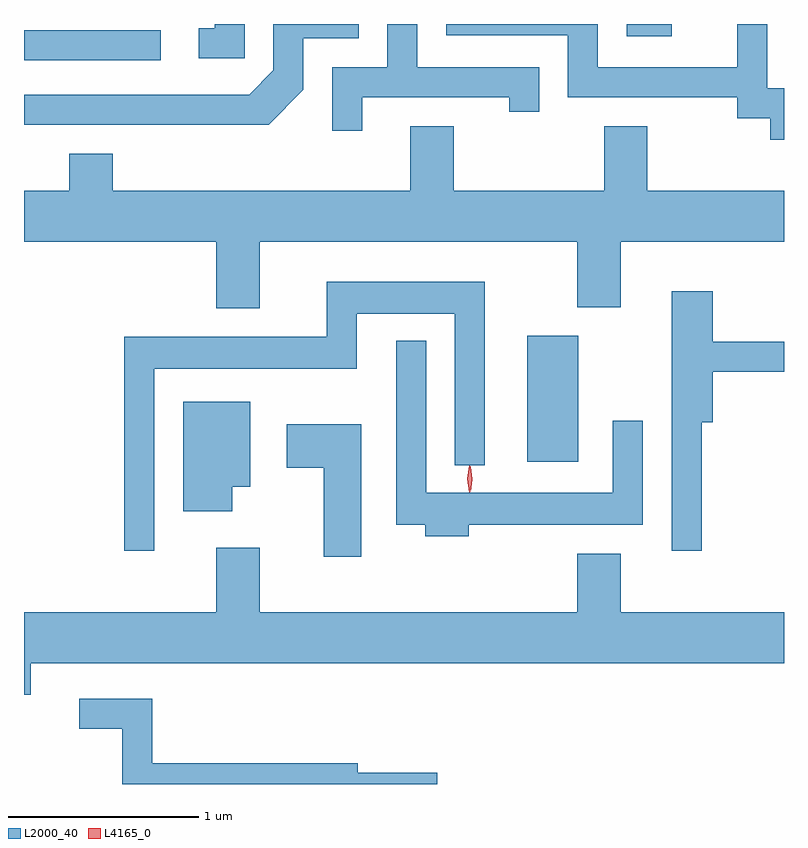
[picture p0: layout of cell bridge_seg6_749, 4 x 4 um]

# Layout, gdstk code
import gdstk
lib = gdstk.Library(unit=1e-6, precision=1e-09)
def R(c, l, rs):  # rectangles x0, y0, x1, y1
    for r in rs: c.add(gdstk.rectangle(r[:2], r[2:], *l))
def P(c, l, *ps):  # polygons
    for p in ps: c.add(gdstk.Polygon(p, *l))
L2000_40 = (2000, 40)
L4165_0 = (4165, 0)

bridge_seg6_749 = lib.new_cell('bridge_seg6_749')
R(bridge_seg6_749, L2000_40, [(526.426,1553.316,526.694,1553.979), (523.778,1555.431,524.498,1555.589), (526.951,1555.556,527.188,1555.621)])
P(bridge_seg6_749, L2000_40, [(524.939,1555.621),(524.781,1555.621),(524.781,1555.599),(524.698,1555.599),(524.698,1555.441),(524.939,1555.441)],
  [(525.249,1555.274),(525.249,1555.546),(525.539,1555.546),(525.539,1555.621),(525.091,1555.621),(525.091,1555.377),(524.964,1555.249),(523.778,1555.249),(523.778,1555.091),(525.067,1555.091)],
  [(525.559,1555.236),(526.331,1555.236),(526.331,1555.158),(526.489,1555.158),(526.489,1555.394),(525.849,1555.394),(525.849,1555.621),(525.691,1555.621),(525.691,1555.394),(525.401,1555.394),(525.401,1555.058),(525.559,1555.058)],
  [(527.778,1555.284),(527.689,1555.284),(527.689,1555.621),(527.531,1555.621),(527.531,1555.394),(526.799,1555.394),(526.799,1555.621),(526.001,1555.621),(526.001,1555.561),(526.641,1555.561),(526.641,1555.236),(527.531,1555.236),(527.531,1555.126),(527.706,1555.126),(527.706,1555.013),(527.778,1555.013)],
  [(526.691,1554.131),(526.919,1554.131),(526.919,1554.476),(527.778,1554.476),(527.778,1554.744),(527.059,1554.744),(527.059,1555.084),(526.831,1555.084),(526.831,1554.744),(526.039,1554.744),(526.039,1555.084),(525.811,1555.084),(525.811,1554.744),(524.244,1554.744),(524.244,1554.939),(524.016,1554.939),(524.016,1554.744),(523.778,1554.744),(523.778,1554.476),(524.791,1554.476),(524.791,1554.126),(525.019,1554.126),(525.019,1554.476),(526.691,1554.476)],
  [(524.464,1553.806),(525.529,1553.806),(525.529,1554.096),(526.046,1554.096),(526.046,1553.298),(526.204,1553.298),(526.204,1554.264),(525.371,1554.264),(525.371,1553.974),(524.306,1553.974),(524.306,1552.848),(524.464,1552.848)],
  [(527.344,1553.526),(527.404,1553.526),(527.404,1553.791),(527.778,1553.791),(527.778,1553.949),(527.404,1553.949),(527.404,1554.214),(527.186,1554.214),(527.186,1552.848),(527.344,1552.848)],
  [(526.119,1552.986),(527.034,1552.986),(527.034,1553.533),(526.876,1553.533),(526.876,1553.154),(525.894,1553.154),(525.894,1553.953),(525.736,1553.953),(525.736,1552.986),(525.891,1552.986),(525.891,1552.926),(526.119,1552.926)],
  [(524.874,1553.186),(524.969,1553.186),(524.969,1553.634),(524.616,1553.634),(524.616,1553.056),(524.874,1553.056)],
  [(525.554,1553.514),(525.161,1553.514),(525.161,1553.286),(525.356,1553.286),(525.356,1552.816),(525.554,1552.816)],
  [(523.814,1552.256),(527.778,1552.256),(527.778,1552.524),(526.919,1552.524),(526.919,1552.834),(526.691,1552.834),(526.691,1552.524),(525.019,1552.524),(525.019,1552.864),(524.791,1552.864),(524.791,1552.524),(523.778,1552.524),(523.778,1552.091),(523.814,1552.091)],
  [(525.954,1551.679),(525.534,1551.679),(525.534,1551.729),(524.454,1551.729),(524.454,1552.069),(524.068,1552.069),(524.068,1551.911),(524.296,1551.911),(524.296,1551.621),(525.954,1551.621)])
P(bridge_seg6_749, L4165_0, [(526.128,1553.159),(526.128,1553.16),(526.118,1553.226),(526.127,1553.292),(526.128,1553.293),(526.128,1553.292),(526.138,1553.226),(526.128,1553.16)],
  [(526.122,1553.157),(526.122,1553.157),(526.112,1553.227),(526.122,1553.296),(526.122,1553.296),(526.123,1553.296),(526.132,1553.227),(526.123,1553.157)])

lib.write_gds('bridge_seg6_749.gds')
